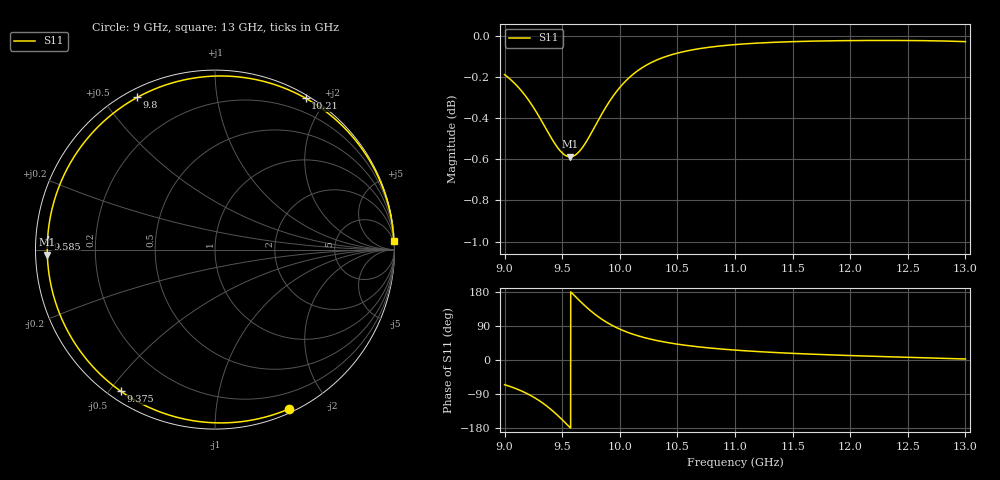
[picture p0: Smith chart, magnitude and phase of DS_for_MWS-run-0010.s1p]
! TOUCHSTONE file generated by CST DESIGN STUDIO
! Date and time: Tue Feb  4 15:59:50 2025
! Project name: C:\Work\MatlabApps\UnitCellOptimizationMatlab\CST\unitcell.cst
! Tree item: Tasks\Sweep1\SPara1\S-Parameters
! Header version: 2024
! Port assignment regex: !\s*Touchstone port\s*([0-9]+)\s*=\s*(CST MWS port|CST DES external port|CST DES block port)\s*(.+)\s* \(\"(.*)\"\)(\s*mode\s*([0-9]+))?.*
! Touchstone port assignment:
! Touchstone port 1 = CST DES external port 1 ("")
# GHz S MA R 50
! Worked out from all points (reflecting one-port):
!   4001 points, 9 GHz to 13 GHz, reference 50 ohm
!   lowest |S11| = -0.6 dB at 9.568 GHz (marker M1), VSWR 29.56, Z = 1.69 - j0.746 ohm
!   phase of S11 starts at -65 deg and turns -292 deg over the sweep
!   S11 on the Smith chart (normalised r, x): 9 GHz: 0.04, -1.56; 9.375 GHz: 0.03, -0.53; 9.585 GHz: 0.03, +0.03; 9.8 GHz: 0.03, +0.61; 10.21 GHz: 0.04, +1.76; 13 GHz: 3, +43
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9  0.9785 -65.2
9.045  0.9762 -69.6
9.112  0.9721 -77.2
9.227  0.9629 -93.8
9.305  0.9552 -108.2
9.375  0.9477 -123.7
9.436  0.9415 -139.3
9.5  0.9366 -157.6
9.535  0.935 -168.1
9.568  0.9346 -178.3
9.585  0.9347 176.5
9.64  0.9368 159.7
9.7  0.9416 142.3
9.75  0.9468 129.0
9.8  0.9524 117.0
9.843  0.9571 107.8
9.89  0.962 98.7
10  0.9715 81.4
10.101  0.978 69.4
10.213  0.9831 59.1
10.345  0.9872 49.9
10.5  0.9904 41.8
10.72  0.9931 33.5
11  0.9951 26.1
11.5  0.9968 17.5
12  0.9973 11.7
12.5  0.9974 7.1
13  0.9967 2.7
